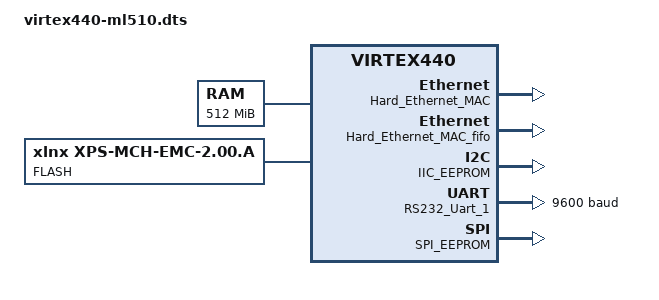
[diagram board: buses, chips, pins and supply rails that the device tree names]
// SPDX-License-Identifier: GPL-2.0
/*
 * Xilinx ML510 Reference Design support
 *
 * This DTS file was created for the ml510_bsb1_pcores_ppc440 reference design.
 * The reference design contains a bug which prevent PCI DMA from working
 * properly.  A description of the bug is given in the plbv46_pci section. It
 * needs to be fixed by the user until Xilinx updates their reference design.
 *
 * Copyright 2009, Roderick Colenbrander
 */

/dts-v1/;
/ {
	#address-cells = <1>;
	#size-cells = <1>;
	compatible = "xlnx,ml510-ref-design", "xlnx,virtex440";
	dcr-parent = <&ppc440_0>;
	DDR2_SDRAM_DIMM0: memory@0 {
		device_type = "memory";
		reg = < 0x0 0x20000000 >;
	} ;
	alias {
		ethernet0 = &Hard_Ethernet_MAC;
		serial0 = &RS232_Uart_1;
	} ;
	chosen {
		bootargs = "console=ttyS0 root=/dev/ram";
		linux,stdout-path = "/plb@0/serial@83e00000";
	} ;
	cpus {
		#address-cells = <1>;
		#cpus = <0x1>;
		#size-cells = <0>;
		ppc440_0: cpu@0 {
			#address-cells = <1>;
			#size-cells = <1>;
			clock-frequency = <300000000>;
			compatible = "PowerPC,440", "ibm,ppc440";
			d-cache-line-size = <0x20>;
			d-cache-size = <0x8000>;
			dcr-access-method = "native";
			dcr-controller ;
			device_type = "cpu";
			i-cache-line-size = <0x20>;
			i-cache-size = <0x8000>;
			model = "PowerPC,440";
			reg = <0>;
			timebase-frequency = <300000000>;
			xlnx,apu-control = <0x2000>;
			xlnx,apu-udi-0 = <0x0>;
			xlnx,apu-udi-1 = <0x0>;
			xlnx,apu-udi-10 = <0x0>;
			xlnx,apu-udi-11 = <0x0>;
			xlnx,apu-udi-12 = <0x0>;
			xlnx,apu-udi-13 = <0x0>;
			xlnx,apu-udi-14 = <0x0>;
			xlnx,apu-udi-15 = <0x0>;
			xlnx,apu-udi-2 = <0x0>;
			xlnx,apu-udi-3 = <0x0>;
			xlnx,apu-udi-4 = <0x0>;
			xlnx,apu-udi-5 = <0x0>;
			xlnx,apu-udi-6 = <0x0>;
			xlnx,apu-udi-7 = <0x0>;
			xlnx,apu-udi-8 = <0x0>;
			xlnx,apu-udi-9 = <0x0>;
			xlnx,dcr-autolock-enable = <0x1>;
			xlnx,dcu-rd-ld-cache-plb-prio = <0x0>;
			xlnx,dcu-rd-noncache-plb-prio = <0x0>;
			xlnx,dcu-rd-touch-plb-prio = <0x0>;
			xlnx,dcu-rd-urgent-plb-prio = <0x0>;
			xlnx,dcu-wr-flush-plb-prio = <0x0>;
			xlnx,dcu-wr-store-plb-prio = <0x0>;
			xlnx,dcu-wr-urgent-plb-prio = <0x0>;
			xlnx,dma0-control = <0x0>;
			xlnx,dma0-plb-prio = <0x0>;
			xlnx,dma0-rxchannelctrl = <0x1010000>;
			xlnx,dma0-rxirqtimer = <0x3ff>;
			xlnx,dma0-txchannelctrl = <0x1010000>;
			xlnx,dma0-txirqtimer = <0x3ff>;
			xlnx,dma1-control = <0x0>;
			xlnx,dma1-plb-prio = <0x0>;
			xlnx,dma1-rxchannelctrl = <0x1010000>;
			xlnx,dma1-rxirqtimer = <0x3ff>;
			xlnx,dma1-txchannelctrl = <0x1010000>;
			xlnx,dma1-txirqtimer = <0x3ff>;
			xlnx,dma2-control = <0x0>;
			xlnx,dma2-plb-prio = <0x0>;
			xlnx,dma2-rxchannelctrl = <0x1010000>;
			xlnx,dma2-rxirqtimer = <0x3ff>;
			xlnx,dma2-txchannelctrl = <0x1010000>;
			xlnx,dma2-txirqtimer = <0x3ff>;
			xlnx,dma3-control = <0x0>;
			xlnx,dma3-plb-prio = <0x0>;
			xlnx,dma3-rxchannelctrl = <0x1010000>;
			xlnx,dma3-rxirqtimer = <0x3ff>;
			xlnx,dma3-txchannelctrl = <0x1010000>;
			xlnx,dma3-txirqtimer = <0x3ff>;
			xlnx,endian-reset = <0x0>;
			xlnx,generate-plb-timespecs = <0x1>;
			xlnx,icu-rd-fetch-plb-prio = <0x0>;
			xlnx,icu-rd-spec-plb-prio = <0x0>;
			xlnx,icu-rd-touch-plb-prio = <0x0>;
			xlnx,interconnect-imask = <0xffffffff>;
			xlnx,mplb-allow-lock-xfer = <0x1>;
			xlnx,mplb-arb-mode = <0x0>;
			xlnx,mplb-awidth = <0x20>;
			xlnx,mplb-counter = <0x500>;
			xlnx,mplb-dwidth = <0x80>;
			xlnx,mplb-max-burst = <0x8>;
			xlnx,mplb-native-dwidth = <0x80>;
			xlnx,mplb-p2p = <0x0>;
			xlnx,mplb-prio-dcur = <0x2>;
			xlnx,mplb-prio-dcuw = <0x3>;
			xlnx,mplb-prio-icu = <0x4>;
			xlnx,mplb-prio-splb0 = <0x1>;
			xlnx,mplb-prio-splb1 = <0x0>;
			xlnx,mplb-read-pipe-enable = <0x1>;
			xlnx,mplb-sync-tattribute = <0x0>;
			xlnx,mplb-wdog-enable = <0x1>;
			xlnx,mplb-write-pipe-enable = <0x1>;
			xlnx,mplb-write-post-enable = <0x1>;
			xlnx,num-dma = <0x0>;
			xlnx,pir = <0xf>;
			xlnx,ppc440mc-addr-base = <0x0>;
			xlnx,ppc440mc-addr-high = <0x1fffffff>;
			xlnx,ppc440mc-arb-mode = <0x0>;
			xlnx,ppc440mc-bank-conflict-mask = <0x1800000>;
			xlnx,ppc440mc-control = <0xf810008f>;
			xlnx,ppc440mc-max-burst = <0x8>;
			xlnx,ppc440mc-prio-dcur = <0x2>;
			xlnx,ppc440mc-prio-dcuw = <0x3>;
			xlnx,ppc440mc-prio-icu = <0x4>;
			xlnx,ppc440mc-prio-splb0 = <0x1>;
			xlnx,ppc440mc-prio-splb1 = <0x0>;
			xlnx,ppc440mc-row-conflict-mask = <0x7ffe00>;
			xlnx,ppcdm-asyncmode = <0x0>;
			xlnx,ppcds-asyncmode = <0x0>;
			xlnx,user-reset = <0x0>;
		} ;
	} ;
	plb_v46_0: plb@0 {
		#address-cells = <1>;
		#size-cells = <1>;
		compatible = "xlnx,plb-v46-1.03.a", "simple-bus";
		ranges ;
		FLASH: flash@fc000000 {
			bank-width = <2>;
			compatible = "xlnx,xps-mch-emc-2.00.a", "cfi-flash";
			reg = < 0xfc000000 0x2000000 >;
			xlnx,family = "virtex5";
			xlnx,include-datawidth-matching-0 = <0x1>;
			xlnx,include-datawidth-matching-1 = <0x0>;
			xlnx,include-datawidth-matching-2 = <0x0>;
			xlnx,include-datawidth-matching-3 = <0x0>;
			xlnx,include-negedge-ioregs = <0x0>;
			xlnx,include-plb-ipif = <0x1>;
			xlnx,include-wrbuf = <0x1>;
			xlnx,max-mem-width = <0x10>;
			xlnx,mch-native-dwidth = <0x20>;
			xlnx,mch-plb-clk-period-ps = <0x2710>;
			xlnx,mch-splb-awidth = <0x20>;
			xlnx,mch0-accessbuf-depth = <0x10>;
			xlnx,mch0-protocol = <0x0>;
			xlnx,mch0-rddatabuf-depth = <0x10>;
			xlnx,mch1-accessbuf-depth = <0x10>;
			xlnx,mch1-protocol = <0x0>;
			xlnx,mch1-rddatabuf-depth = <0x10>;
			xlnx,mch2-accessbuf-depth = <0x10>;
			xlnx,mch2-protocol = <0x0>;
			xlnx,mch2-rddatabuf-depth = <0x10>;
			xlnx,mch3-accessbuf-depth = <0x10>;
			xlnx,mch3-protocol = <0x0>;
			xlnx,mch3-rddatabuf-depth = <0x10>;
			xlnx,mem0-width = <0x10>;
			xlnx,mem1-width = <0x20>;
			xlnx,mem2-width = <0x20>;
			xlnx,mem3-width = <0x20>;
			xlnx,num-banks-mem = <0x1>;
			xlnx,num-channels = <0x2>;
			xlnx,priority-mode = <0x0>;
			xlnx,synch-mem-0 = <0x0>;
			xlnx,synch-mem-1 = <0x0>;
			xlnx,synch-mem-2 = <0x0>;
			xlnx,synch-mem-3 = <0x0>;
			xlnx,synch-pipedelay-0 = <0x2>;
			xlnx,synch-pipedelay-1 = <0x2>;
			xlnx,synch-pipedelay-2 = <0x2>;
			xlnx,synch-pipedelay-3 = <0x2>;
			xlnx,tavdv-ps-mem-0 = <0x1adb0>;
			xlnx,tavdv-ps-mem-1 = <0x3a98>;
			xlnx,tavdv-ps-mem-2 = <0x3a98>;
			xlnx,tavdv-ps-mem-3 = <0x3a98>;
			xlnx,tcedv-ps-mem-0 = <0x1adb0>;
			xlnx,tcedv-ps-mem-1 = <0x3a98>;
			xlnx,tcedv-ps-mem-2 = <0x3a98>;
			xlnx,tcedv-ps-mem-3 = <0x3a98>;
			xlnx,thzce-ps-mem-0 = <0x88b8>;
			xlnx,thzce-ps-mem-1 = <0x1b58>;
			xlnx,thzce-ps-mem-2 = <0x1b58>;
			xlnx,thzce-ps-mem-3 = <0x1b58>;
			xlnx,thzoe-ps-mem-0 = <0x1b58>;
			xlnx,thzoe-ps-mem-1 = <0x1b58>;
			xlnx,thzoe-ps-mem-2 = <0x1b58>;
			xlnx,thzoe-ps-mem-3 = <0x1b58>;
			xlnx,tlzwe-ps-mem-0 = <0x88b8>;
			xlnx,tlzwe-ps-mem-1 = <0x0>;
			xlnx,tlzwe-ps-mem-2 = <0x0>;
			xlnx,tlzwe-ps-mem-3 = <0x0>;
			xlnx,twc-ps-mem-0 = <0x1adb0>;
			xlnx,twc-ps-mem-1 = <0x3a98>;
			xlnx,twc-ps-mem-2 = <0x3a98>;
			xlnx,twc-ps-mem-3 = <0x3a98>;
			xlnx,twp-ps-mem-0 = <0x11170>;
			xlnx,twp-ps-mem-1 = <0x2ee0>;
			xlnx,twp-ps-mem-2 = <0x2ee0>;
			xlnx,twp-ps-mem-3 = <0x2ee0>;
			xlnx,xcl0-linesize = <0x4>;
			xlnx,xcl0-writexfer = <0x1>;
			xlnx,xcl1-linesize = <0x4>;
			xlnx,xcl1-writexfer = <0x1>;
			xlnx,xcl2-linesize = <0x4>;
			xlnx,xcl2-writexfer = <0x1>;
			xlnx,xcl3-linesize = <0x4>;
			xlnx,xcl3-writexfer = <0x1>;
		} ;
		Hard_Ethernet_MAC: xps-ll-temac@81c00000 {
			#address-cells = <1>;
			#size-cells = <1>;
			compatible = "xlnx,compound";
			ethernet@81c00000 {
				compatible = "xlnx,xps-ll-temac-1.01.b";
				device_type = "network";
				interrupt-parent = <&xps_intc_0>;
				interrupts = < 8 2 >;
				llink-connected = <&Hard_Ethernet_MAC_fifo>;
				local-mac-address = [ 02 00 00 00 00 00 ];
				reg = < 0x81c00000 0x40 >;
				xlnx,bus2core-clk-ratio = <0x1>;
				xlnx,phy-type = <0x3>;
				xlnx,phyaddr = <0x1>;
				xlnx,rxcsum = <0x0>;
				xlnx,rxfifo = <0x8000>;
				xlnx,temac-type = <0x0>;
				xlnx,txcsum = <0x0>;
				xlnx,txfifo = <0x8000>;
			} ;
		} ;
		Hard_Ethernet_MAC_fifo: xps-ll-fifo@81a00000 {
			compatible = "xlnx,xps-ll-fifo-1.01.a";
			interrupt-parent = <&xps_intc_0>;
			interrupts = < 6 2 >;
			reg = < 0x81a00000 0x10000 >;
			xlnx,family = "virtex5";
		} ;
		IIC_EEPROM: i2c@81600000 {
			compatible = "xlnx,xps-iic-2.00.a";
			interrupt-parent = <&xps_intc_0>;
			interrupts = < 9 2 >;
			reg = < 0x81600000 0x10000 >;
			xlnx,clk-freq = <0x5f5e100>;
			xlnx,family = "virtex5";
			xlnx,gpo-width = <0x1>;
			xlnx,iic-freq = <0x186a0>;
			xlnx,scl-inertial-delay = <0x5>;
			xlnx,sda-inertial-delay = <0x5>;
			xlnx,ten-bit-adr = <0x0>;
		} ;
		LCD_OPTIONAL: gpio@81420000 {
			compatible = "xlnx,xps-gpio-1.00.a";
			reg = < 0x81420000 0x10000 >;
			xlnx,all-inputs = <0x0>;
			xlnx,all-inputs-2 = <0x0>;
			xlnx,dout-default = <0x0>;
			xlnx,dout-default-2 = <0x0>;
			xlnx,family = "virtex5";
			xlnx,gpio-width = <0xb>;
			xlnx,interrupt-present = <0x0>;
			xlnx,is-bidir = <0x1>;
			xlnx,is-bidir-2 = <0x1>;
			xlnx,is-dual = <0x0>;
			xlnx,tri-default = <0xffffffff>;
			xlnx,tri-default-2 = <0xffffffff>;
		} ;
		LEDs_4Bit: gpio@81400000 {
			compatible = "xlnx,xps-gpio-1.00.a";
			reg = < 0x81400000 0x10000 >;
			xlnx,all-inputs = <0x0>;
			xlnx,all-inputs-2 = <0x0>;
			xlnx,dout-default = <0x0>;
			xlnx,dout-default-2 = <0x0>;
			xlnx,family = "virtex5";
			xlnx,gpio-width = <0x4>;
			xlnx,interrupt-present = <0x0>;
			xlnx,is-bidir = <0x1>;
			xlnx,is-bidir-2 = <0x1>;
			xlnx,is-dual = <0x0>;
			xlnx,tri-default = <0xffffffff>;
			xlnx,tri-default-2 = <0xffffffff>;
		} ;
		RS232_Uart_1: serial@83e00000 {
			clock-frequency = <100000000>;
			compatible = "xlnx,xps-uart16550-2.00.b", "ns16550";
			current-speed = <9600>;
			device_type = "serial";
			interrupt-parent = <&xps_intc_0>;
			interrupts = < 11 2 >;
			reg = < 0x83e00000 0x10000 >;
			reg-offset = <0x1003>;
			reg-shift = <2>;
			xlnx,family = "virtex5";
			xlnx,has-external-rclk = <0x0>;
			xlnx,has-external-xin = <0x0>;
			xlnx,is-a-16550 = <0x1>;
		} ;
		SPI_EEPROM: xps-spi@feff8000 {
			compatible = "xlnx,xps-spi-2.00.b";
			interrupt-parent = <&xps_intc_0>;
			interrupts = < 10 2 >;
			reg = < 0xfeff8000 0x80 >;
			xlnx,family = "virtex5";
			xlnx,fifo-exist = <0x1>;
			xlnx,num-ss-bits = <0x1>;
			xlnx,num-transfer-bits = <0x8>;
			xlnx,sck-ratio = <0x80>;
		} ;
		SysACE_CompactFlash: sysace@83600000 {
			compatible = "xlnx,xps-sysace-1.00.a";
			interrupt-parent = <&xps_intc_0>;
			interrupts = < 7 2 >;
			reg = < 0x83600000 0x10000 >;
			xlnx,family = "virtex5";
			xlnx,mem-width = <0x10>;
		} ;
		plbv46_pci_0: plbv46-pci@85e00000 {
			#size-cells = <2>;
			#address-cells = <3>;
			compatible = "xlnx,plbv46-pci-1.03.a";
			device_type = "pci";
			reg = < 0x85e00000 0x10000 >;

			/*
			 * The default ML510 BSB has C_IPIFBAR2PCIBAR_0 set to
			 * 0 which means that a read/write to the memory mapped
			 * i/o region (which starts at 0xa0000000) for pci
			 * bar 0 on the plb side translates to 0.
			 * It is important to set this value to 0xa0000000, so
			 * that inbound and outbound pci transactions work
			 * properly including DMA.
			 */
			ranges = <0x02000000 0 0xa0000000 0xa0000000 0 0x20000000
				  0x01000000 0 0x00000000 0xf0000000 0 0x00010000>;

			#interrupt-cells = <1>;
			interrupt-parent = <&xps_intc_0>;
			interrupt-map-mask = <0xff00 0x0 0x0 0x7>;
			interrupt-map = <
				/* IRQ mapping for pci slots and ALI M1533
				 * periperhals. In total there are 5 interrupt
				 * lines connected to a xps_intc controller.
				 * Four of them are PCI IRQ A, B, C, D and
				 * which correspond to respectively xpx_intc
				 * 5, 4, 3 and 2.  The fifth interrupt line is
				 * connected to the south bridge and this one
				 * uses irq 1 and is active high instead of
				 * active low.
				 *
				 * The M1533 contains various peripherals
				 * including AC97 audio, a modem, USB, IDE and
				 * some power management stuff. The modem
				 * isn't connected on the ML510 and the power
				 * management core also isn't used.
				 */

				/* IDSEL 0x16 / dev=6, bus=0 / PCI slot 3 */
				0x3000 0 0 1 &xps_intc_0 3 2
				0x3000 0 0 2 &xps_intc_0 2 2
				0x3000 0 0 3 &xps_intc_0 5 2
				0x3000 0 0 4 &xps_intc_0 4 2

				/* IDSEL 0x13 / dev=3, bus=1 / PCI slot 4 */
				/*
				0x11800 0 0 1 &xps_intc_0 5 0 2
				0x11800 0 0 2 &xps_intc_0 4 0 2
				0x11800 0 0 3 &xps_intc_0 3 0 2
				0x11800 0 0 4 &xps_intc_0 2 0 2
				*/

				/* According to the datasheet + schematic
				 * ABCD [FPGA] of slot 5 is mapped to DABC.
				 * Testing showed that at least A maps to B,
				 * the mapping of the other pins is a guess
				 * and for that reason the lines have been
				 * commented out.
				 */
				/* IDSEL 0x15 / dev=5, bus=0 / PCI slot 5 */
				0x2800 0 0 1 &xps_intc_0 4 2
				/*
				0x2800 0 0 2 &xps_intc_0 3 2
				0x2800 0 0 3 &xps_intc_0 2 2
				0x2800 0 0 4 &xps_intc_0 5 2
				*/

				/* IDSEL 0x12 / dev=2, bus=1 / PCI slot 6 */
				/*
				0x11000 0 0 1 &xps_intc_0 4 0 2
				0x11000 0 0 2 &xps_intc_0 3 0 2
				0x11000 0 0 3 &xps_intc_0 2 0 2
				0x11000 0 0 4 &xps_intc_0 5 0 2
				*/

				/* IDSEL 0x11 / dev=1, bus=0 / AC97 audio */
				0x0800 0 0 1 &i8259 7 2

				/* IDSEL 0x1b / dev=11, bus=0 / IDE */
				0x5800 0 0 1 &i8259 14 2

				/* IDSEL 0x1f / dev 15, bus=0 / 2x USB 1.1 */
				0x7800 0 0 1 &i8259 7 2
			>;
			ali_m1533 {
				#size-cells = <1>;
				#address-cells = <2>;
				i8259: interrupt-controller@20 {
					reg = <1 0x20 2
							1 0xa0 2
							1 0x4d0 2>;
					interrupt-controller;
					device_type = "interrupt-controller";
					#address-cells = <0>;
					#interrupt-cells = <2>;
					compatible = "chrp,iic";

					/* south bridge irq is active high */
					interrupts = <1 3>;
					interrupt-parent = <&xps_intc_0>;
				};
			};
		} ;
		xps_bram_if_cntlr_1: xps-bram-if-cntlr@ffff0000 {
			compatible = "xlnx,xps-bram-if-cntlr-1.00.a";
			reg = < 0xffff0000 0x10000 >;
			xlnx,family = "virtex5";
		} ;
		xps_intc_0: interrupt-controller@81800000 {
			#interrupt-cells = <0x2>;
			compatible = "xlnx,xps-intc-1.00.a";
			interrupt-controller ;
			reg = < 0x81800000 0x10000 >;
			xlnx,num-intr-inputs = <0xc>;
		} ;
		xps_tft_0: tft@86e00000 {
			compatible = "xlnx,xps-tft-1.00.a";
			reg = < 0x86e00000 0x10000 >;
			xlnx,dcr-splb-slave-if = <0x1>;
			xlnx,default-tft-base-addr = <0x0>;
			xlnx,family = "virtex5";
			xlnx,i2c-slave-addr = <0x76>;
			xlnx,mplb-awidth = <0x20>;
			xlnx,mplb-dwidth = <0x80>;
			xlnx,mplb-native-dwidth = <0x40>;
			xlnx,mplb-smallest-slave = <0x20>;
			xlnx,tft-interface = <0x1>;
		} ;
	} ;
}  ;
